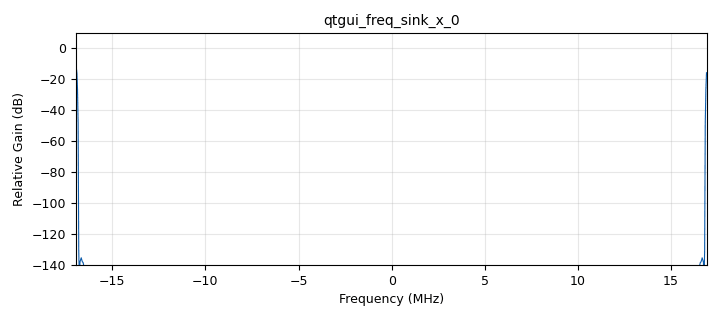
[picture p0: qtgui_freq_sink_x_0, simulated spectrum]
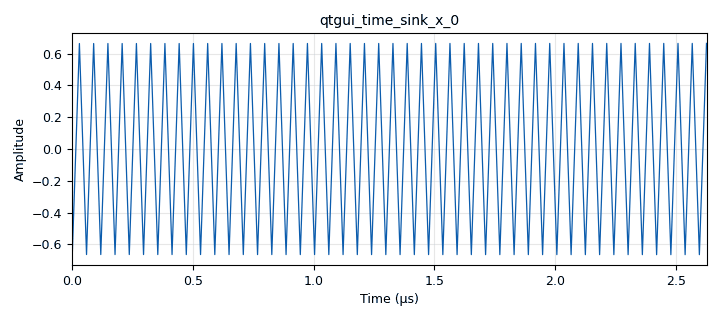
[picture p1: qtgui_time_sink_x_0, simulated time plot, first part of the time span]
options:
  parameters:
    author: labcom
    generate_options: qt_gui
    id: mult_signals
    output_language: python
    title: mult_signals
  states: {}

blocks:
- name: A
  id: variable_qtgui_range
  parameters:
    start: '0'
    step: '0.1'
    stop: '10'
    value: '1'
  states: {}
- name: samp_rate
  id: variable
  parameters:
    value: '33868930'
  states: {}
- name: analog_sig_source_x_0
  id: analog_sig_source_x
  parameters:
    amp: A
    freq: '16934400'
    offset: '0'
    phase: '0'
    samp_rate: samp_rate
    type: float
    waveform: analog.GR_COS_WAVE
  states: {}
- name: analog_sig_source_x_0_0
  id: analog_sig_source_x
  parameters:
    amp: A
    freq: '65'
    offset: '0'
    phase: '0'
    samp_rate: samp_rate
    type: float
    waveform: analog.GR_SAW_WAVE
  states: {}
- name: blocks_multiply_xx_0
  id: blocks_multiply_xx
  parameters:
    type: float
  states: {}
- name: qtgui_freq_sink_x_0
  id: qtgui_freq_sink_x
  parameters:
    bw: samp_rate
    fc: '0'
    fftsize: '1024'
    type: float
  states: {}
- name: qtgui_time_sink_x_0
  id: qtgui_time_sink_x
  parameters:
    autoscale: 'True'
    grid: 'True'
    size: '1024'
    srate: samp_rate
    type: float
  states: {}

connections:
- [analog_sig_source_x_0, '0', blocks_multiply_xx_0, '1']
- [analog_sig_source_x_0_0, '0', blocks_multiply_xx_0, '0']
- [blocks_multiply_xx_0, '0', qtgui_freq_sink_x_0, '0']
- [blocks_multiply_xx_0, '0', qtgui_time_sink_x_0, '0']

metadata:
  file_format: 1
